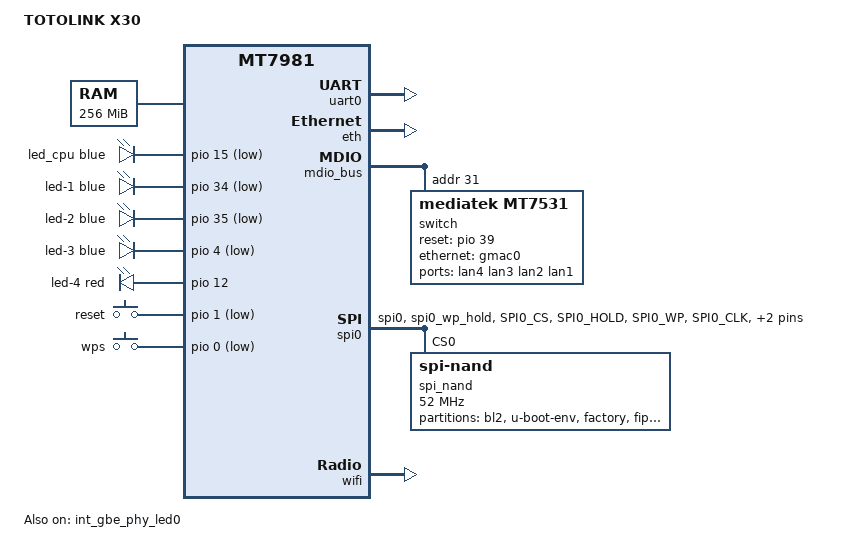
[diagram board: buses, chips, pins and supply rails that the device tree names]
// SPDX-License-Identifier: (GPL-2.0 OR MIT)

/dts-v1/;
#include <dt-bindings/gpio/gpio.h>
#include <dt-bindings/input/input.h>
#include <dt-bindings/leds/common.h>
#include "mt7981b.dtsi"

/ {
	model = "TOTOLINK X30";
	compatible = "totolink,x30", "mediatek,mt7981";

	aliases {
		led-boot = &led_cpu;
		led-failsafe = &led_cpu;
		led-running = &led_cpu;
		led-upgrade = &led_cpu;
		serial0 = &uart0;
	};

	chosen {
		rootdisk = <&ubi_rootdisk>;
		stdout-path = "serial0:115200n8";
	};

	memory@40000000 {
		reg = <0 0x40000000 0 0x10000000>;
		device_type = "memory";
	};

	leds {
		compatible = "gpio-leds";

		led_cpu: led-0 {
			color = <LED_COLOR_ID_BLUE>;
			function = LED_FUNCTION_CPU;
			gpios = <&pio 15 GPIO_ACTIVE_LOW>;
			default-state = "on";
		};

		led-1 {
			color = <LED_COLOR_ID_BLUE>;
			function = LED_FUNCTION_WLAN_2GHZ;
			gpios = <&pio 34 GPIO_ACTIVE_LOW>;
			linux,default-trigger = "phy0tpt";
		};

		led-2 {
			color = <LED_COLOR_ID_BLUE>;
			function = LED_FUNCTION_WLAN_5GHZ;
			gpios = <&pio 35 GPIO_ACTIVE_LOW>;
			linux,default-trigger = "phy1tpt";
		};

		led-3 {
			color = <LED_COLOR_ID_BLUE>;
			function = "mesh";
			gpios = <&pio 4 GPIO_ACTIVE_LOW>;
		};

		led-4 {
			color = <LED_COLOR_ID_RED>;
			function = "mesh";
			gpios = <&pio 12 GPIO_ACTIVE_HIGH>;
		};
	};

	keys {
		compatible = "gpio-keys";

		reset {
			label = "reset";
			gpios = <&pio 1 GPIO_ACTIVE_LOW>;
			linux,code = <KEY_RESTART>;
		};

		/* The front MESH button is exposed as a standard WPS button. */
		wps {
			label = "wps";
			gpios = <&pio 0 GPIO_ACTIVE_LOW>;
			linux,code = <KEY_WPS_BUTTON>;
		};
	};
};

&pio {
	gbe_led0_pins: gbe-led0-pins {
		mux {
			function = "led";
			groups = "gbe_led0";
		};
	};

	nand_pins: spi0-pins {
		mux {
			function = "spi";
			groups = "spi0", "spi0_wp_hold";
		};
		conf-pu {
			pins = "SPI0_CS", "SPI0_HOLD", "SPI0_WP";
			drive-strength = <MTK_DRIVE_4mA>;
			bias-pull-up = <MTK_PUPD_SET_R1R0_11>;
		};
		conf-pd {
			pins = "SPI0_CLK", "SPI0_MOSI", "SPI0_MISO";
			drive-strength = <MTK_DRIVE_4mA>;
			bias-pull-down = <MTK_PUPD_SET_R1R0_11>;
		};
	};
};

&uart0 {
	status = "okay";
};

&eth {
	pinctrl-names = "default";
	pinctrl-0 = <&mdio_pins>;

	status = "okay";

	gmac0: mac@0 {
		compatible = "mediatek,eth-mac";
		reg = <0>;
		phy-mode = "2500base-x";

		nvmem-cells = <&macaddr_factory_4 3>;
		nvmem-cell-names = "mac-address";

		fixed-link {
			speed = <2500>;
			full-duplex;
			pause;
		};
	};

	mac@1 {
		compatible = "mediatek,eth-mac";
		reg = <1>;
		label = "wan";
		phy-mode = "gmii";
		phy-handle = <&int_gbe_phy>;

		nvmem-cells = <&macaddr_factory_4 1>;
		nvmem-cell-names = "mac-address";
	};
};

&int_gbe_phy {
	pinctrl-names = "default";
	pinctrl-0 = <&gbe_led0_pins>;
};

&int_gbe_phy_led0 {
	function = LED_FUNCTION_WAN;
	status = "okay";
};

&mdio_bus {
	switch: switch@1f {
		compatible = "mediatek,mt7531";
		reg = <31>;
		reset-gpios = <&pio 39 GPIO_ACTIVE_HIGH>;

		ports {
			#address-cells = <1>;
			#size-cells = <0>;

			port@0 {
				reg = <0>;
				label = "lan4";
			};

			port@1 {
				reg = <1>;
				label = "lan3";
			};

			port@2 {
				reg = <2>;
				label = "lan2";
			};

			port@3 {
				reg = <3>;
				label = "lan1";
			};

			port@6 {
				reg = <6>;
				ethernet = <&gmac0>;
				phy-mode = "2500base-x";

				fixed-link {
					speed = <2500>;
					full-duplex;
					pause;
				};
			};
		};
	};
};

&spi0 {
	status = "okay";

	pinctrl-names = "default";
	pinctrl-0 = <&nand_pins>;

	spi_nand@0 {
		compatible = "spi-nand";
		reg = <0>;

		spi-max-frequency = <52000000>;
		spi-tx-bus-width = <4>;
		spi-rx-bus-width = <4>;

		mediatek,nmbm;
		mediatek,bmt-max-ratio = <1>;
		mediatek,bmt-max-reserved-blocks = <64>;
		mediatek,bmt-remap-range = <0x000000 0x580000>;

		partitions: partitions {
			compatible = "fixed-partitions";
			#address-cells = <1>;
			#size-cells = <1>;

			partition@0 {
				label = "bl2";
				reg = <0x0 0x100000>;
				read-only;
			};

			partition@100000 {
				label = "u-boot-env";
				reg = <0x100000 0x80000>;
			};

			partition@180000 {
				label = "factory";
				reg = <0x180000 0x200000>;
				read-only;

				nvmem-layout {
					compatible = "fixed-layout";
					#address-cells = <1>;
					#size-cells = <1>;

					eeprom_factory_0: eeprom@0 {
						reg = <0x0 0x1000>;
					};

					macaddr_factory_4: macaddr@4 {
						compatible = "mac-base";
						reg = <0x4 0x6>;
						#nvmem-cell-cells = <1>;
					};
				};
			};

			partition@380000 {
				label = "fip";
				reg = <0x380000 0x200000>;
				read-only;
			};

			partition@580000 {
				compatible = "linux,ubi";
				label = "ubi";
				reg = <0x580000 0x7a80000>;

				volumes {
					ubi_rootdisk: ubi-volume-fit {
						volname = "fit";
					};
				};
			};
		};
	};
};

&wifi {
	status = "okay";
	nvmem-cells = <&eeprom_factory_0>;
	nvmem-cell-names = "eeprom";
};
